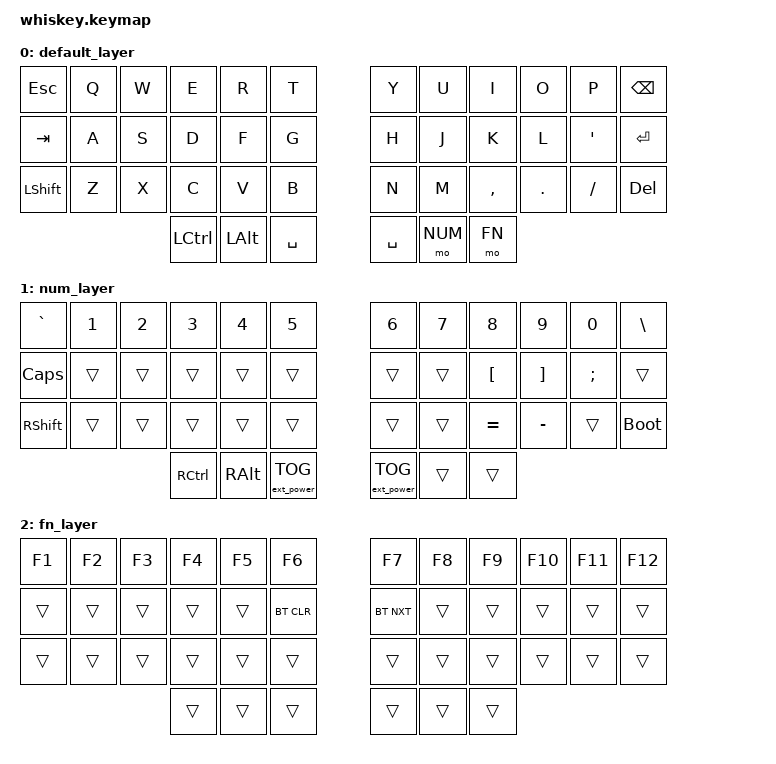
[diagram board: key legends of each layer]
/*
 * Copyright (c) 2021 KnoblesseOblige
 *
 * SPDX-License-Identifier: MIT
 */

#include <behaviors.dtsi>
#include <dt-bindings/zmk/keys.h>
#include <dt-bindings/zmk/rgb.h>
#include <dt-bindings/zmk/bt.h>
#include <dt-bindings/zmk/ext_power.h>

#define DEFAULT 0
#define NUM 1
#define FN 2

/ {
	keymap {
		compatible = "zmk,keymap";

		default_layer {
// ------------------------------------------------------------------------------------------
// | ESC |  1  |  2  |  3  |  4  |  5  |  6  |  7  |  8  |  9  |  0  |  -  |  =  |   BKSP   |
// | TAB  |  Q  |  W  |  E  |  R  |  T  |  Y  |  U  |  I  |  O  |  P  |  [  |  ]  |   "|"   |
// | CAPS  |  A  |  S  |  D  |  F  |  G  |  H  |  J  |  K  |  L  |  ;  |  '  |     ENTER    |
// |  SHIFT  |  Z  |  X  |  C  |  V  |  B  |  N  |  M  |  ,  |  .  |  /  |      SHIFT       |
// |  CTL  |  WIN  |  ALT  |            SPACE              |  ALT  |  WIN  |  MO(1) |  CTL  |
// ------------------------------------------------------------------------------------------
			bindings = <
	&kp ESC  &kp Q  &kp W  &kp E  &kp R  &kp T  &kp Y  &kp U  &kp I  &kp O  &kp P  &kp BSPC
	&kp TAB  &kp A  &kp S  &kp D  &kp F  &kp G  &kp H  &kp J  &kp K  &kp L  &kp APOS  &kp RETURN
	&kp LSHFT  &kp Z  &kp X  &kp C  &kp V  &kp B  &kp N  &kp M  &kp COMMA &kp DOT  &kp FSLH &kp DEL
	&kp LCTRL  &kp LALT  &kp SPACE  &kp SPACE  &mo NUM  &mo FN
			>;
		};

		num_layer {
// ------------------------------------------------------------------------------------------
// | ESC |  1  |  2  |  3  |  4  |  5  |  6  |  7  |  8  |  9  |  0  |  -  |  =  |   BKSP   |
// | TAB  |  Q  |  W  |  E  |  R  |  T  |  Y  |  U  |  I  |  O  |  P  |  [  |  ]  |   "|"   |
// | CAPS  |  A  |  S  |  D  |  F  |  G  |  H  |  J  |  K  |  L  |  ;  |  '  |     ENTER    |
// |  SHIFT  |  Z  |  X  |  C  |  V  |  B  |  N  |  M  |  ,  |  .  |  /  |      SHIFT       |
// |  CTL  |  WIN  |  ALT  |            SPACE              |  ALT  |  WIN  |  MO(1) |  CTL  |
// ------------------------------------------------------------------------------------------
			bindings = <
	&kp GRAVE  &kp N1 &kp N2 &kp N3 &kp N4 &kp N5 &kp N6 &kp N7 &kp N8 &kp N9 &kp N0 &kp BSLH
	&kp CAPS &trans &trans &trans &trans &trans &trans &trans &kp LBKT &kp RBKT &kp SEMI &trans
	&kp RSHFT &trans &trans &trans &trans &trans &trans &trans &kp EQUAL &kp MINUS &trans &bootloader
	&kp RCTRL &kp RALT &ext_power EP_TOG &ext_power EP_TOG &trans &trans
			>;
		};

		fn_layer {
// ------------------------------------------------------------------------------------------
// | ESC |  1  |  2  |  3  |  4  |  5  |  6  |  7  |  8  |  9  |  0  |  -  |  =  |   BKSP   |
// | TAB  |  Q  |  W  |  E  |  R  |  T  |  Y  |  U  |  I  |  O  |  P  |  [  |  ]  |   "|"   |
// | CAPS  |  A  |  S  |  D  |  F  |  G  |  H  |  J  |  K  |  L  |  ;  |  '  |     ENTER    |
// |  SHIFT  |  Z  |  X  |  C  |  V  |  B  |  N  |  M  |  ,  |  .  |  /  |      SHIFT       |
// |  CTL  |  WIN  |  ALT  |            SPACE              |  ALT  |  WIN  |  MO(1) |  CTL  |
// ------------------------------------------------------------------------------------------
			bindings = <
	&kp F1 &kp F2 &kp F3 &kp F4 &kp F5 &kp F6 &kp F7 &kp F8 &kp F9 &kp F10 &kp F11 &kp F12
	&trans &trans &trans &trans &trans &bt BT_CLR &bt BT_NXT &trans &trans &trans &trans &trans
	&trans &trans &trans &trans &trans &trans &trans &trans &trans &trans &trans &trans
	&trans &trans &trans &trans &trans &trans
			>;
		};
	};
};
